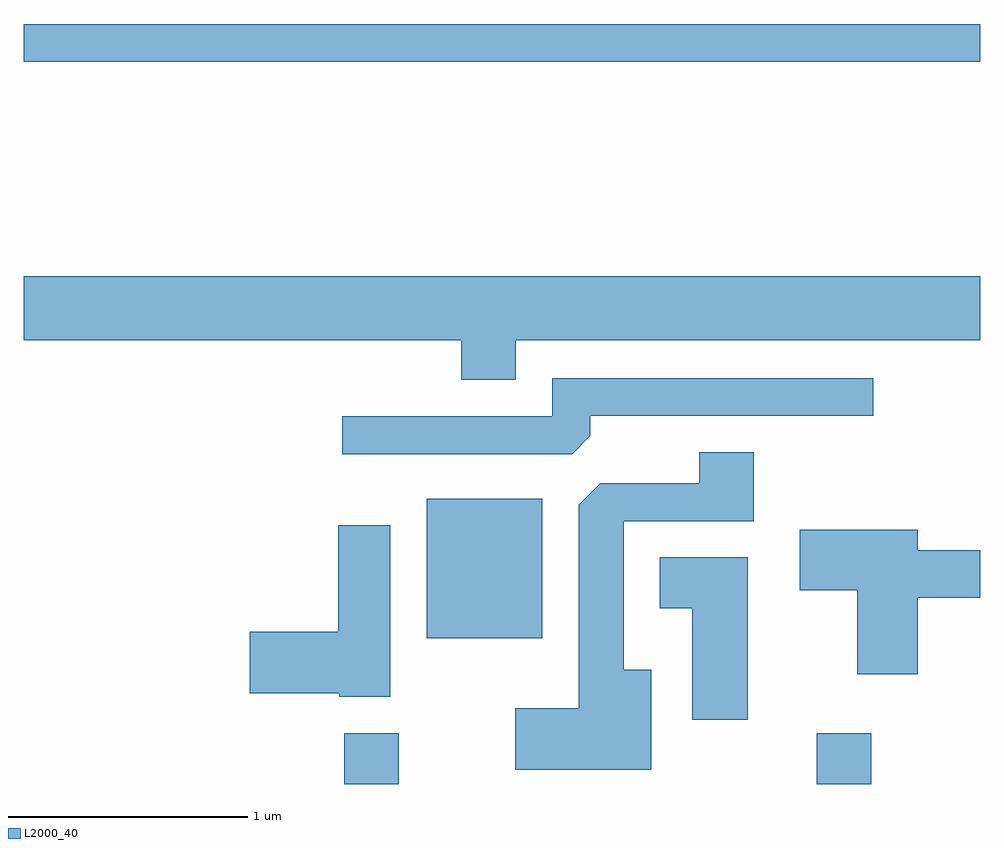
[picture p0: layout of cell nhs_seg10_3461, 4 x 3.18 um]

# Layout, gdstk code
import gdstk
lib = gdstk.Library(unit=1e-6, precision=1e-09)
def R(c, l, rs):  # rectangles x0, y0, x1, y1
    for r in rs: c.add(gdstk.rectangle(r[:2], r[2:], *l))
def P(c, l, *ps):  # polygons
    for p in ps: c.add(gdstk.Polygon(p, *l))
L2000_40 = (2000, 40)

nhs_seg10_3461 = lib.new_cell('nhs_seg10_3461')
R(nhs_seg10_3461, L2000_40, [(288.951,2096.522,289.179,2096.734), (290.926,2096.522,291.154,2096.734), (289.296,2097.131,289.779,2097.714), (287.611,2099.541,291.611,2099.699)])
P(nhs_seg10_3461, L2000_40, [(289.669,2098.376),(291.611,2098.376),(291.611,2098.644),(287.611,2098.644),(287.611,2098.376),(289.441,2098.376),(289.441,2098.211),(289.669,2098.211)],
  [(289.979,2097.977),(289.979,2098.061),(291.163,2098.061),(291.163,2098.219),(289.821,2098.219),(289.821,2098.059),(288.943,2098.059),(288.943,2097.901),(289.904,2097.901)],
  [(290.234,2096.999),(290.119,2096.999),(290.119,2097.621),(290.664,2097.621),(290.664,2097.909),(290.436,2097.909),(290.436,2097.779),(290.022,2097.779),(289.931,2097.689),(289.931,2096.839),(289.666,2096.839),(289.666,2096.581),(290.234,2096.581)],
  [(289.144,2097.604),(288.926,2097.604),(288.926,2097.159),(288.556,2097.159),(288.556,2096.901),(288.93,2096.901),(288.93,2096.886),(289.144,2096.886)],
  [(291.349,2097.301),(291.611,2097.301),(291.611,2097.499),(291.349,2097.499),(291.349,2097.584),(290.856,2097.584),(290.856,2097.331),(291.096,2097.331),(291.096,2096.981),(291.349,2096.981)],
  [(290.639,2097.469),(290.271,2097.469),(290.271,2097.256),(290.406,2097.256),(290.406,2096.791),(290.639,2096.791)])

lib.write_gds('nhs_seg10_3461.gds')
